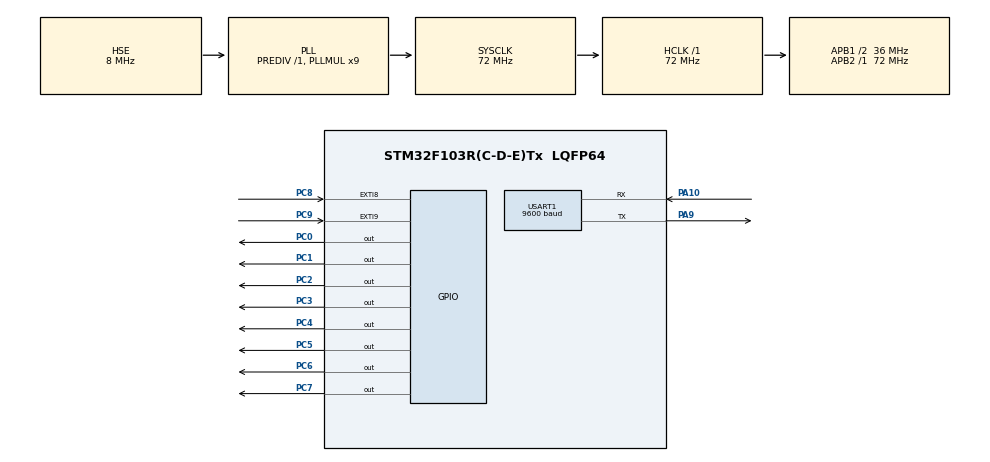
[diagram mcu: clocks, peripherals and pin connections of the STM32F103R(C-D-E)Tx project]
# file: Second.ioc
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Mcu.Family=STM32F1
Mcu.Name=STM32F103R(C-D-E)Tx
Mcu.Package=LQFP64
NVIC.EXTI9_5_IRQn=true\:2\:0\:true\:false\:true\:true\:true\:true
NVIC.PriorityGroup=NVIC_PRIORITYGROUP_4
NVIC.USART1_IRQn=true\:0\:0\:false\:false\:true\:true\:true\:true
PA10.Mode=Asynchronous
PA10.Signal=USART1_RX
PA13.Mode=Serial_Wire
PA13.Signal=SYS_JTMS-SWDIO
PA14.Mode=Serial_Wire
PA14.Signal=SYS_JTCK-SWCLK
PA9.Mode=Asynchronous
PA9.Signal=USART1_TX
PC0.GPIO_Speed=GPIO_SPEED_FREQ_HIGH
PC0.PinState=GPIO_PIN_SET
PC0.Signal=GPIO_Output
PC1.GPIO_Speed=GPIO_SPEED_FREQ_HIGH
PC1.PinState=GPIO_PIN_SET
PC1.Signal=GPIO_Output
PC2.GPIO_Speed=GPIO_SPEED_FREQ_HIGH
PC2.PinState=GPIO_PIN_SET
PC2.Signal=GPIO_Output
PC3.GPIO_Speed=GPIO_SPEED_FREQ_HIGH
PC3.PinState=GPIO_PIN_SET
PC3.Signal=GPIO_Output
PC4.GPIO_Speed=GPIO_SPEED_FREQ_HIGH
PC4.PinState=GPIO_PIN_SET
PC4.Signal=GPIO_Output
PC5.GPIO_Speed=GPIO_SPEED_FREQ_HIGH
PC5.PinState=GPIO_PIN_SET
PC5.Signal=GPIO_Output
PC6.GPIO_Speed=GPIO_SPEED_FREQ_HIGH
PC6.PinState=GPIO_PIN_SET
PC6.Signal=GPIO_Output
PC7.GPIO_Speed=GPIO_SPEED_FREQ_HIGH
PC7.PinState=GPIO_PIN_SET
PC7.Signal=GPIO_Output
PC8.GPIO_ModeDefaultEXTI=GPIO_MODE_IT_FALLING
PC8.GPIO_PuPd=GPIO_PULLUP
PC8.Signal=GPXTI8
PC9.GPIO_ModeDefaultEXTI=GPIO_MODE_IT_FALLING
PC9.GPIO_PuPd=GPIO_PULLUP
PC9.Signal=GPXTI9
PD0-OSC_IN.Mode=HSE-External-Oscillator
PD0-OSC_IN.Signal=RCC_OSC_IN
PD1-OSC_OUT.Mode=HSE-External-Oscillator
PD1-OSC_OUT.Signal=RCC_OSC_OUT
ProjectManager.HeapSize=0x200
ProjectManager.StackSize=0x400
ProjectManager.TargetToolchain=MDK-ARM V5
RCC.AHBFreq_Value=72000000
RCC.APB1CLKDivider=RCC_HCLK_DIV2
RCC.APB1Freq_Value=36000000
RCC.APB1TimFreq_Value=72000000
RCC.APB2Freq_Value=72000000
RCC.APB2TimFreq_Value=72000000
RCC.HCLKFreq_Value=72000000
RCC.PLLMUL=RCC_PLL_MUL9
RCC.PLLSourceVirtual=RCC_PLLSOURCE_HSE
RCC.SYSCLKFreq_VALUE=72000000
RCC.SYSCLKSource=RCC_SYSCLKSOURCE_PLLCLK
RCC.USBFreq_Value=72000000
USART1.BaudRate=9600
USART1.VirtualMode=VM_ASYNC
board=custom

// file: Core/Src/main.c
/* USER CODE BEGIN Header */
/**
  ******************************************************************************
  * @file           : main.c
  * @brief          : Main program body
  ******************************************************************************
  * @attention
  *
  * Copyright (c) 2023 STMicroelectronics.
  * All rights reserved.
  *
  * This software is licensed under terms that can be found in the LICENSE file
  * in the root directory of this software component.
  * If no LICENSE file comes with this software, it is provided AS-IS.
  *
  ******************************************************************************
  */
/* USER CODE END Header */
#include "main.h"
#include "usart.h"
#include "gpio.h"

/* USER CODE BEGIN PD */
int KEY1 = 1;
int KEY2 = 1;
/* USER CODE END PD */

void SystemClock_Config(void);

/* USER CODE BEGIN 0 */

uint8_t Tx_str1[] = "UART TEST\r\n";
uint8_t Tx_str2[] = "START\r\n";
uint8_t Tx_str3[] = "STOP\r\n";
uint8_t Tx_str4[] = "YES\r\n";
uint8_t Tx_str5[] = "NO\r\n";
uint8_t Tx_str6[] = "0,1,2,3,4,5,6,7,8,9";
uint8_t Rx_dat = 0;
void HAL_UART_RxCpltCallback(UART_HandleTypeDef *huart){
if(huart->Instance == USART1){
if(Rx_dat == '0'){
		HAL_UART_Transmit(&huart1,Tx_str4,sizeof(Tx_str4)-1,10000);
}else if(Rx_dat == '1'){
	HAL_UART_Transmit(&huart1,Tx_str5,sizeof(Tx_str5)-1,10000);
}else if(Rx_dat == '2'){
	HAL_UART_Transmit(&huart1,Tx_str4,sizeof(Tx_str4)-1,10000);
}else if(Rx_dat == '3'){
	HAL_UART_Transmit(&huart1,Tx_str5,sizeof(Tx_str5)-1,10000);
}else if(Rx_dat == '4'){
	HAL_UART_Transmit(&huart1,Tx_str4,sizeof(Tx_str4)-1,10000);
}else if(Rx_dat == '5'){
	HAL_UART_Transmit(&huart1,Tx_str5,sizeof(Tx_str5)-1,10000);
}else if(Rx_dat == '6'){
	HAL_UART_Transmit(&huart1,Tx_str4,sizeof(Tx_str4)-1,10000);
}else if(Rx_dat == '7'){
	HAL_UART_Transmit(&huart1,Tx_str5,sizeof(Tx_str5)-1,10000);
}else if(Rx_dat == '8'){
	HAL_UART_Transmit(&huart1,Tx_str4,sizeof(Tx_str4)-1,10000);
}else if(Rx_dat == '9'){
	HAL_UART_Transmit(&huart1,Tx_str5,sizeof(Tx_str4)-1,10000);
	HAL_UART_Receive_IT(&huart1,&Rx_dat,1);
}
}
}

void HAL_GPIO_EXTI_Callback(uint16_t GPIO_Pin){
	if(GPIO_Pin==GPIO_PIN_8){
	KEY1++;
	if(KEY1%2!=0){
		HAL_Delay(200);
		HAL_UART_Transmit(&huart1,Tx_str3,sizeof(Tx_str3)-1,10000);
	}
	}
	if(GPIO_Pin==GPIO_PIN_9){
		if(KEY2%2!=0){
			HAL_GPIO_WritePin(GPIOC, GPIO_PIN_0|GPIO_PIN_1|GPIO_PIN_2|GPIO_PIN_3|GPIO_PIN_4|GPIO_PIN_5|GPIO_PIN_6|GPIO_PIN_7, GPIO_PIN_SET);
			while(1){
			HAL_GPIO_WritePin(GPIOC,GPIO_PIN_0,0);
			HAL_Delay(500);
			HAL_GPIO_WritePin(GPIOC,GPIO_PIN_0,1);

			HAL_GPIO_WritePin(GPIOC,GPIO_PIN_1,0);
			HAL_Delay(500);
			HAL_GPIO_WritePin(GPIOC,GPIO_PIN_1,1);

			HAL_GPIO_WritePin(GPIOC,GPIO_PIN_2,0);
			HAL_Delay(500);
			HAL_GPIO_WritePin(GPIOC,GPIO_PIN_2,1);

			HAL_GPIO_WritePin(GPIOC,GPIO_PIN_3,0);
			HAL_Delay(500);
			HAL_GPIO_WritePin(GPIOC,GPIO_PIN_3,1);

			HAL_GPIO_WritePin(GPIOC,GPIO_PIN_4,0);
			HAL_Delay(500);
			HAL_GPIO_WritePin(GPIOC,GPIO_PIN_4,1);

			HAL_GPIO_WritePin(GPIOC,GPIO_PIN_5,0);
			HAL_Delay(500);
			HAL_GPIO_WritePin(GPIOC,GPIO_PIN_5,1);

			HAL_GPIO_WritePin(GPIOC,GPIO_PIN_6,0);
			HAL_Delay(500);
			HAL_GPIO_WritePin(GPIOC,GPIO_PIN_6,1);

			HAL_GPIO_WritePin(GPIOC,GPIO_PIN_7,0);
			HAL_Delay(500);
			HAL_GPIO_WritePin(GPIOC,GPIO_PIN_7,1);

			if(GPIO_Pin==GPIO_PIN_9){
				HAL_Delay (20);
				if(GPIO_Pin==GPIO_PIN_9){
					goto out;}
			}
			}
}else if(KEY2%2==0){
		while(1){
			 HAL_GPIO_WritePin(GPIOC, GPIO_PIN_0|GPIO_PIN_1|GPIO_PIN_2|GPIO_PIN_3|GPIO_PIN_4|GPIO_PIN_5|GPIO_PIN_6|GPIO_PIN_7, GPIO_PIN_SET);
			HAL_GPIO_TogglePin(GPIOC,GPIO_PIN_7);
			HAL_Delay(500);
			HAL_GPIO_WritePin(GPIOC,GPIO_PIN_7,1);
			HAL_GPIO_TogglePin(GPIOC,GPIO_PIN_6);
			HAL_Delay(500);
			HAL_GPIO_WritePin(GPIOC,GPIO_PIN_6,1);
			HAL_GPIO_TogglePin(GPIOC,GPIO_PIN_5);
			HAL_Delay(500);
			HAL_GPIO_WritePin(GPIOC,GPIO_PIN_5,1);
			HAL_GPIO_TogglePin(GPIOC,GPIO_PIN_4);
			HAL_Delay(500);
			HAL_GPIO_WritePin(GPIOC,GPIO_PIN_4,1);
			HAL_GPIO_TogglePin(GPIOC,GPIO_PIN_3);
			HAL_Delay(500);
			HAL_GPIO_WritePin(GPIOC,GPIO_PIN_3,1);
			HAL_GPIO_TogglePin(GPIOC,GPIO_PIN_2);
			HAL_Delay(500);
			HAL_GPIO_WritePin(GPIOC,GPIO_PIN_2,1);
			HAL_GPIO_TogglePin(GPIOC,GPIO_PIN_1);
			HAL_Delay(500);
			HAL_GPIO_WritePin(GPIOC,GPIO_PIN_1,1);
			HAL_GPIO_TogglePin(GPIOC,GPIO_PIN_0);
			HAL_Delay(500);
			HAL_GPIO_WritePin(GPIOC,GPIO_PIN_0,1);
			if(GPIO_Pin==GPIO_PIN_9){
				HAL_Delay (20);
				if(GPIO_Pin==GPIO_PIN_9){
					goto out;}
			}
		}
}
	out:
	KEY2++;
	}

}
/* USER CODE END 0 */

int main(void)
{

  /* MCU Configuration--------------------------------------------------------*/

  /* Reset of all peripherals, Initializes the Flash interface and the Systick. */
  HAL_Init();

  /* Configure the system clock */
  SystemClock_Config();

  /* Initialize all configured peripherals */
  MX_GPIO_Init();
  MX_USART1_UART_Init();
  /* USER CODE BEGIN 2 */

HAL_UART_Transmit(&huart1,Tx_str1,sizeof(Tx_str1)-1,10000);
HAL_UART_Receive_IT(&huart1,&Rx_dat,1);
  /* USER CODE END 2 */

  /* Infinite loop */
  while (1)
  {

    /* USER CODE BEGIN 3 */
		if(HAL_GPIO_ReadPin(GPIOC,GPIO_PIN_8)==0){
		HAL_Delay(20);
				if(HAL_GPIO_ReadPin(GPIOC,GPIO_PIN_8)==0){
					out:
					if(KEY1%2==0){
			HAL_UART_Transmit(&huart1,Tx_str2,sizeof(Tx_str2)-1,10000);
			HAL_Delay(500);
			HAL_GPIO_TogglePin(GPIOC,GPIO_PIN_0);
			HAL_Delay(500);
			HAL_GPIO_WritePin(GPIOC,GPIO_PIN_0,1);
			HAL_GPIO_TogglePin(GPIOC,GPIO_PIN_1);
			HAL_Delay(500);
			HAL_GPIO_WritePin(GPIOC,GPIO_PIN_1,1);
			HAL_GPIO_TogglePin(GPIOC,GPIO_PIN_2);
			HAL_Delay(500);
			HAL_GPIO_WritePin(GPIOC,GPIO_PIN_2,1);
			HAL_GPIO_TogglePin(GPIOC,GPIO_PIN_3);
			HAL_Delay(500);
			HAL_GPIO_WritePin(GPIOC,GPIO_PIN_3,1);
			HAL_GPIO_TogglePin(GPIOC,GPIO_PIN_4);
			HAL_Delay(500);
			HAL_GPIO_WritePin(GPIOC,GPIO_PIN_4,1);
			HAL_GPIO_TogglePin(GPIOC,GPIO_PIN_5);
			HAL_Delay(500);
			HAL_GPIO_WritePin(GPIOC,GPIO_PIN_5,1);
			HAL_GPIO_TogglePin(GPIOC,GPIO_PIN_6);
			HAL_Delay(500);
			HAL_GPIO_WritePin(GPIOC,GPIO_PIN_6,1);
			HAL_GPIO_TogglePin(GPIOC,GPIO_PIN_7);
			HAL_Delay(500);
			HAL_GPIO_WritePin(GPIOC,GPIO_PIN_7,1);
			goto out;
					}else{
					  HAL_GPIO_WritePin(GPIOC, GPIO_PIN_0|GPIO_PIN_1|GPIO_PIN_2|GPIO_PIN_3
                          |GPIO_PIN_4|GPIO_PIN_5|GPIO_PIN_6|GPIO_PIN_7, GPIO_PIN_SET);
					}

//        switch(KEY1%2){
//					case 1:
//			HAL_UART_Transmit(&huart1,Tx_str2,sizeof(Tx_str2)-1,10000);
//			HAL_Delay(500);
//			HAL_GPIO_TogglePin(GPIOC,GPIO_PIN_0);
//			HAL_Delay(500);
//			HAL_GPIO_WritePin(GPIOC,GPIO_PIN_0,1);
//			HAL_GPIO_TogglePin(GPIOC,GPIO_PIN_1);
//			HAL_Delay(500);
//			HAL_GPIO_WritePin(GPIOC,GPIO_PIN_1,1);
//			HAL_GPIO_TogglePin(GPIOC,GPIO_PIN_2);
//			HAL_Delay(500);
//			HAL_GPIO_WritePin(GPIOC,GPIO_PIN_2,1);
//			HAL_GPIO_TogglePin(GPIOC,GPIO_PIN_3);
//			HAL_Delay(500);
//			HAL_GPIO_WritePin(GPIOC,GPIO_PIN_3,1);
//			HAL_GPIO_TogglePin(GPIOC,GPIO_PIN_4);
//			HAL_Delay(500);
//			HAL_GPIO_WritePin(GPIOC,GPIO_PIN_4,1);
//			HAL_GPIO_TogglePin(GPIOC,GPIO_PIN_5);
//			HAL_Delay(500);
//			HAL_GPIO_WritePin(GPIOC,GPIO_PIN_5,1);
//			HAL_GPIO_TogglePin(GPIOC,GPIO_PIN_6);
//			HAL_Delay(500);
//			HAL_GPIO_WritePin(GPIOC,GPIO_PIN_6,1);
//			HAL_GPIO_TogglePin(GPIOC,GPIO_PIN_7);
//			HAL_Delay(500);
//			HAL_GPIO_WritePin(GPIOC,GPIO_PIN_7,1);
//			break;
//					case 2:
//						 HAL_GPIO_WritePin(GPIOC, GPIO_PIN_0|GPIO_PIN_1|GPIO_PIN_2|GPIO_PIN_3
//                          |GPIO_PIN_4|GPIO_PIN_5|GPIO_PIN_6|GPIO_PIN_7, GPIO_PIN_SET);
//					HAL_UART_Transmit(&huart1,Tx_str3,sizeof(Tx_str3)-1,10000);break;
//				}
				}
		}
  }
  /* USER CODE END 3 */
}

void SystemClock_Config(void)
{
  RCC_OscInitTypeDef RCC_OscInitStruct = {0};
  RCC_ClkInitTypeDef RCC_ClkInitStruct = {0};

  /** Initializes the RCC Oscillators according to the specified parameters
  * in the RCC_OscInitTypeDef structure.
  */
  RCC_OscInitStruct.OscillatorType = RCC_OSCILLATORTYPE_HSE;
  RCC_OscInitStruct.HSEState = RCC_HSE_ON;
  RCC_OscInitStruct.HSEPredivValue = RCC_HSE_PREDIV_DIV1;
  RCC_OscInitStruct.HSIState = RCC_HSI_ON;
  RCC_OscInitStruct.PLL.PLLState = RCC_PLL_ON;
  RCC_OscInitStruct.PLL.PLLSource = RCC_PLLSOURCE_HSE;
  RCC_OscInitStruct.PLL.PLLMUL = RCC_PLL_MUL9;
  if (HAL_RCC_OscConfig(&RCC_OscInitStruct) != HAL_OK)
  {
    Error_Handler();
  }

  /** Initializes the CPU, AHB and APB buses clocks
  */
  RCC_ClkInitStruct.ClockType = RCC_CLOCKTYPE_HCLK|RCC_CLOCKTYPE_SYSCLK
                              |RCC_CLOCKTYPE_PCLK1|RCC_CLOCKTYPE_PCLK2;
  RCC_ClkInitStruct.SYSCLKSource = RCC_SYSCLKSOURCE_PLLCLK;
  RCC_ClkInitStruct.AHBCLKDivider = RCC_SYSCLK_DIV1;
  RCC_ClkInitStruct.APB1CLKDivider = RCC_HCLK_DIV2;
  RCC_ClkInitStruct.APB2CLKDivider = RCC_HCLK_DIV1;

  if (HAL_RCC_ClockConfig(&RCC_ClkInitStruct, FLASH_LATENCY_2) != HAL_OK)
  {
    Error_Handler();
  }
}

void Error_Handler(void)
{
  __disable_irq();
  while (1)
  {
  }
}
